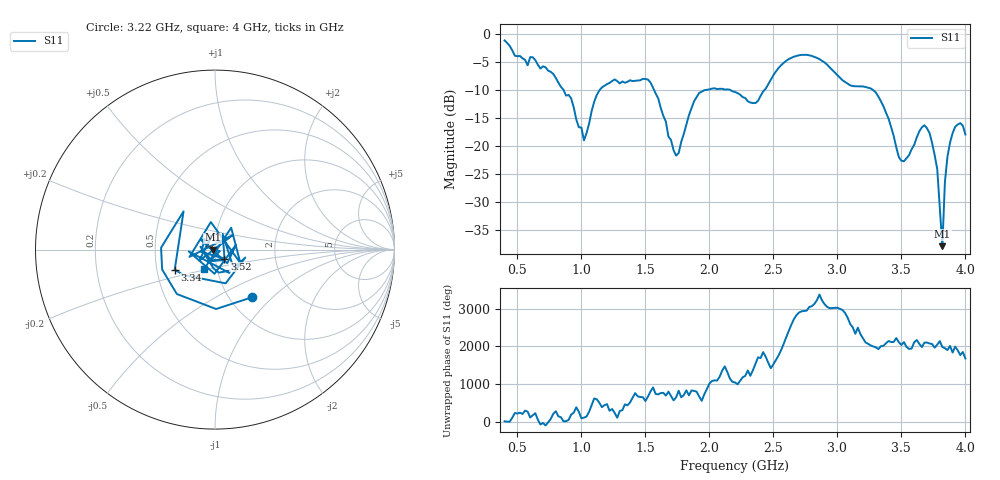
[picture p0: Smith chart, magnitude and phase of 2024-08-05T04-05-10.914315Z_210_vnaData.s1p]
!Created with skrf (http://scikit-rf.org).
# Hz S RI R 50.0
!freq ReS11 ImS11
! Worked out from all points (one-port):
!   181 points, 400 MHz to 4 GHz, reference 50 ohm
!   lowest |S11| = -37.9 dB at 3.82 GHz (marker M1), VSWR 1.03, Z = 48.8 - j0.107 ohm
!   |S11| at or under -10 dB: 860.6 MHz to 1.144 GHz (283 MHz wide, 28.2 % of centre); 1.568 GHz to 1.974 GHz (407 MHz wide, 23 % of centre); 3.277 GHz to end of sweep (the widest 3 of 4)
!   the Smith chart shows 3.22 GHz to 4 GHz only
!   S11 on the Smith chart (normalised r, x): 3.22 GHz: 1.26, -0.76; 3.34 GHz: 0.62, -0.15; 3.52 GHz: 1.10, -0.11; 4 GHz: 0.86, -0.19
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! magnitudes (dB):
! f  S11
! 400 MHz  -1.2
! 860 MHz  -10.0
! 920 MHz  -11.5
! 1.02 GHz  -19.0
! 1.14 GHz  -10.1
! 1.3 GHz  -8.8
! 1.54 GHz  -8.7
! 1.72 GHz  -20.8
! 1.76 GHz  -21.3
! 1.92 GHz  -10.6
! 2.2 GHz  -10.4
! 2.36 GHz  -12.3
! 2.66 GHz  -4.1
! 2.86 GHz  -4.5
! 3.1 GHz  -9.2
! 3.22 GHz  -9.5
! 3.34 GHz  -12.0
! 3.48 GHz  -22.0
! 3.52 GHz  -22.8
! 3.56 GHz  -21.7
! 3.66 GHz  -16.7
! 3.72 GHz  -17.7
! 3.78 GHz  -24.2
! 3.82 GHz  -37.9
! 3.84 GHz  -26.5
! 3.88 GHz  -19.4
! 3.96 GHz  -15.9
! 4 GHz  -18.0
